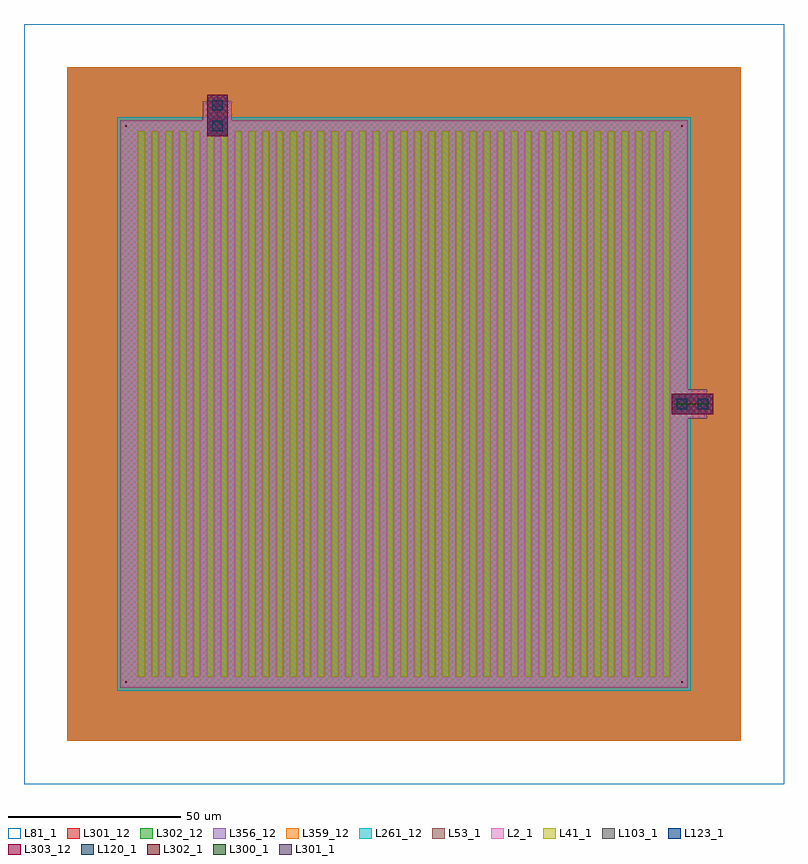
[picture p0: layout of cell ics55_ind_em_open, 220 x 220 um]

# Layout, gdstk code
import gdstk
lib = gdstk.Library(unit=1e-6, precision=1e-09)
def R(c, l, rs):  # rectangles x0, y0, x1, y1
    for r in rs: c.add(gdstk.rectangle(r[:2], r[2:], *l))
def A(c, l, x, y, w, h, nx, ny, dx, dy):  # array of equal rectangles
    R(c, l, [(x+i*dx, y+j*dy, x+i*dx+w, y+j*dy+h) for i in range(nx) for j in range(ny)])
L2_1 = (2, 1)
L41_1 = (41, 1)
L53_1 = (53, 1)
L81_1 = (81, 1)
L103_1 = (103, 1)
L120_1 = (120, 1)
L123_1 = (123, 1)
L261_12 = (261, 12)
L300_1 = (300, 1)
L301_1 = (301, 1)
L301_12 = (301, 12)
L302_1 = (302, 1)
L302_12 = (302, 12)
L303_12 = (303, 12)
L356_12 = (356, 12)
L359_12 = (359, 12)

ics55_ind_em_open = lib.new_cell('ics55_ind_em_open')
A(ics55_ind_em_open, L2_1, -79, -79, 2, 158, 40, 1, 4, 0)
R(ics55_ind_em_open, L2_1, [(-82,-82,82,-79), (-82,-79,-79,79), (79,-79,82,79), (79.5,-4,87.5,4), (-82,79,82,82), (-58,79.5,-50,87.5)])
A(ics55_ind_em_open, L41_1, -76.9, -79, 1.8, 158, 39, 1, 4, 0)
R(ics55_ind_em_open, L53_1, [(-82.2,-82.2,82.2,82.2), (79.3,-4.2,87.7,4.2), (-58.2,79.3,-49.8,87.7)])
R(ics55_ind_em_open, L81_1, [(-110,-110,110,110)])
R(ics55_ind_em_open, L103_1, [(77.5,-3,89.5,3), (-57,77.5,-51,89.5)])
R(ics55_ind_em_open, L120_1, [(79,-1.5,82,1.5), (85,-1.5,88,1.5), (-55.5,79,-52.5,82), (-55.5,85,-52.5,88)])
R(ics55_ind_em_open, L123_1, [(77.5,-3,89.5,3), (-57,77.5,-51,89.5)])
R(ics55_ind_em_open, L261_12, [(-83,-83,83,83)])
R(ics55_ind_em_open, L300_1, [(78.5,-0.005,88.5,0.005)])
R(ics55_ind_em_open, L301_1, [(-54.005,78.5,-53.995,88.5)])
R(ics55_ind_em_open, L301_12, [(-97.5,-97.5,97.5,97.5)])
R(ics55_ind_em_open, L302_1, [(-80.68,-80.68,-80.32,-80.32), (80.32,-80.68,80.68,-80.32), (-80.68,80.32,-80.32,80.68), (80.32,80.32,80.68,80.68)])
R(ics55_ind_em_open, L302_12, [(-97.5,-97.5,97.5,97.5)])
R(ics55_ind_em_open, L303_12, [(77.5,-3,89.5,3), (-57,77.5,-51,89.5)])
R(ics55_ind_em_open, L356_12, [(-97.5,-97.5,97.5,97.5)])
R(ics55_ind_em_open, L359_12, [(-97.5,-97.5,97.5,97.5)])

lib.write_gds('ics55_ind_em_open.gds')
